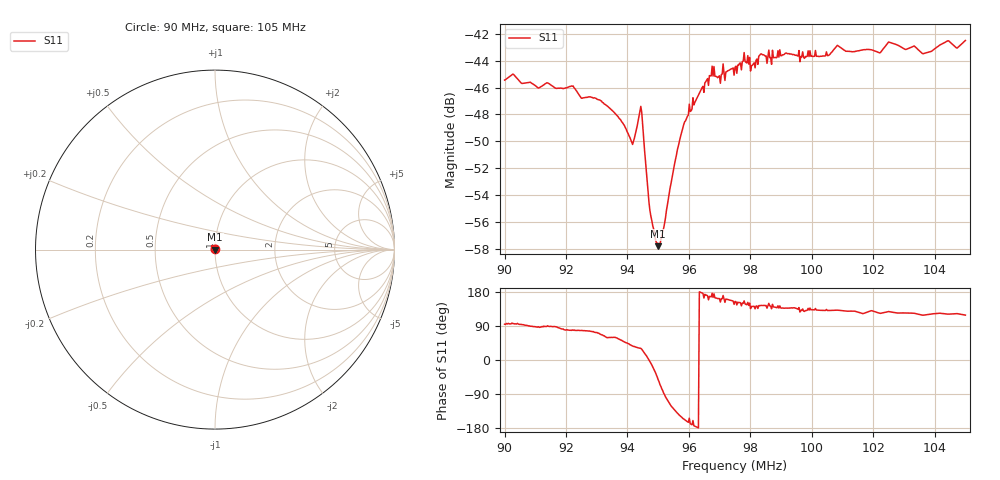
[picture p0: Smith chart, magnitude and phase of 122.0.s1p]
# HZ S RI R 50
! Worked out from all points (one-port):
!   505 points, 90 MHz to 105 MHz, reference 50 ohm
!   lowest |S11| = -57.8 dB at 95 MHz (marker M1), VSWR 1.00, Z = 50.1 - j0.102 ohm
!   |S11| at or under -10 dB: start of sweep to end of sweep
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9e7  -0.000413 0.00533
9.026786e7  -0.000595 0.00559
9.187501e7  0.00072 0.00493
9.309525e7  0.00163 0.0042
9.375001e7  0.00224 0.0031
9.416668e7  0.00246 0.00184
9.443454e7  0.00367 0.00218
9.449406e7  0.0033 0.00153
9.473216e7  0.00173 -0.000137
9.488097e7  0.00125 -0.000671
9.500002e7  0.000788 -0.00102
9.517859e7  5.9e-05 -0.0015
9.562502e7  -0.00226 -0.00188
9.607145e7  -0.00403 -0.000747
9.675597e7  -0.00601 0.000412
9.696431e7  -0.00524 0.00168
9.750002e7  -0.00537 0.00259
9.785717e7  -0.0052 0.00341
9.80655e7  -0.00474 0.00379
9.836312e7  -0.00542 0.00392
9.937503e7  -0.00487 0.00451
1.008631e8  -0.00472 0.00538
1.0125e8  -0.00429 0.00531
1.022024e8  -0.00372 0.00563
1.025298e8  -0.00449 0.00587
1.03125e8  -0.00392 0.00579
1.036608e8  -0.00322 0.0059
1.05e8  -0.00357 0.0066
